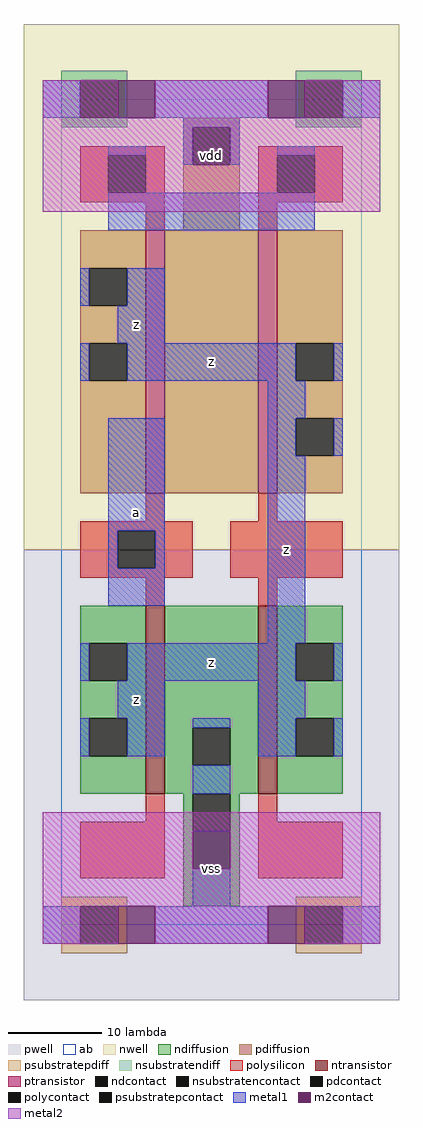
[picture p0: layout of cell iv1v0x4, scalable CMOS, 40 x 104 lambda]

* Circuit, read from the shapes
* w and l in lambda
.subckt iv1v0x4 a vdd vss z
M1 vss a z vss nfet w=20 l=2 m=2
M2 vdd a z vdd pfet w=28 l=2 m=2
.ends

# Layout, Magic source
magic
tech scmos
<< ab >>
rect 0 0 32 88
<< pwell >>
rect -4 -8 36 40
<< nwell >>
rect -4 40 36 96
<< polysilicon >>
rect 2 82 11 83
rect 2 78 5 82
rect 9 78 11 82
rect 2 77 11 78
rect 9 74 11 77
rect 21 82 30 83
rect 21 78 23 82
rect 27 78 30 82
rect 21 77 30 78
rect 21 74 23 77
rect 9 43 11 46
rect 21 43 23 46
rect 2 42 14 43
rect 2 38 6 42
rect 10 38 14 42
rect 2 37 14 38
rect 18 37 30 43
rect 9 34 11 37
rect 21 34 23 37
rect 9 11 11 14
rect 2 5 11 11
rect 21 11 23 14
rect 21 5 30 11
<< ndiffusion >>
rect 2 30 9 34
rect 2 26 3 30
rect 7 26 9 30
rect 2 22 9 26
rect 2 18 3 22
rect 7 18 9 22
rect 2 14 9 18
rect 11 21 21 34
rect 11 17 14 21
rect 18 17 21 21
rect 11 14 21 17
rect 23 30 30 34
rect 23 26 25 30
rect 29 26 30 30
rect 23 22 30 26
rect 23 18 25 22
rect 29 18 30 22
rect 23 14 30 18
rect 13 10 14 14
rect 18 10 19 14
rect 13 2 19 10
<< pdiffusion >>
rect 13 85 19 86
rect 13 81 14 85
rect 18 81 19 85
rect 13 74 19 81
rect 2 70 9 74
rect 2 66 3 70
rect 7 66 9 70
rect 2 62 9 66
rect 2 58 3 62
rect 7 58 9 62
rect 2 46 9 58
rect 11 46 21 74
rect 23 62 30 74
rect 23 58 25 62
rect 29 58 30 62
rect 23 54 30 58
rect 23 50 25 54
rect 29 50 30 54
rect 23 46 30 50
<< metal1 >>
rect -2 86 2 90
rect 10 86 22 90
rect 30 86 34 90
rect 13 85 19 86
rect 5 82 9 83
rect 13 81 14 85
rect 18 81 19 85
rect 23 82 27 83
rect 5 74 27 78
rect 2 66 3 70
rect 7 66 11 70
rect 6 62 11 66
rect 2 58 3 62
rect 7 58 25 62
rect 29 58 30 62
rect 22 54 26 58
rect 5 42 11 54
rect 5 38 6 42
rect 10 38 11 42
rect 5 34 11 38
rect 22 50 25 54
rect 29 50 30 54
rect 22 30 26 50
rect 2 26 3 30
rect 7 26 25 30
rect 29 26 30 30
rect 6 22 11 26
rect 21 22 26 26
rect 2 18 3 22
rect 7 18 11 22
rect 14 21 18 22
rect 21 18 25 22
rect 29 18 30 22
rect 14 14 18 17
rect 14 2 18 6
rect -2 -2 2 2
rect 10 -2 22 2
rect 30 -2 34 2
<< metal2 >>
rect -2 86 6 90
rect 10 86 22 90
rect 26 86 34 90
rect -2 76 34 86
rect -2 10 34 12
rect -2 6 14 10
rect 18 6 34 10
rect -2 2 34 6
rect -2 -2 6 2
rect 10 -2 22 2
rect 26 -2 34 2
<< ntransistor >>
rect 9 14 11 34
rect 21 14 23 34
<< ptransistor >>
rect 9 46 11 74
rect 21 46 23 74
<< polycontact >>
rect 5 78 9 82
rect 23 78 27 82
rect 6 38 10 42
<< ndcontact >>
rect 3 26 7 30
rect 3 18 7 22
rect 14 17 18 21
rect 25 26 29 30
rect 25 18 29 22
rect 14 10 18 14
<< pdcontact >>
rect 14 81 18 85
rect 3 66 7 70
rect 3 58 7 62
rect 25 58 29 62
rect 25 50 29 54
<< m2contact >>
rect 6 86 10 90
rect 22 86 26 90
rect 14 6 18 10
rect 6 -2 10 2
rect 22 -2 26 2
<< psubstratepcontact >>
rect 2 -2 6 2
rect 26 -2 30 2
<< nsubstratencontact >>
rect 2 86 6 90
rect 26 86 30 90
<< psubstratepdiff >>
rect 0 2 7 3
rect 25 2 32 3
rect 0 -2 2 2
rect 6 -2 7 2
rect 0 -3 7 -2
rect 25 -2 26 2
rect 30 -2 32 2
rect 25 -3 32 -2
<< nsubstratendiff >>
rect 0 90 7 91
rect 0 86 2 90
rect 6 86 7 90
rect 25 90 32 91
rect 25 86 26 90
rect 30 86 32 90
rect 0 85 7 86
rect 25 85 32 86
<< labels >>
rlabel metal1 8 24 8 24 6 z
rlabel metal1 8 44 8 44 6 a
rlabel metal1 8 64 8 64 6 z
rlabel metal1 16 28 16 28 6 z
rlabel metal1 16 60 16 60 6 z
rlabel metal1 24 40 24 40 6 z
rlabel metal2 16 6 16 6 6 vss
rlabel metal2 16 82 16 82 6 vdd
<< end >>
